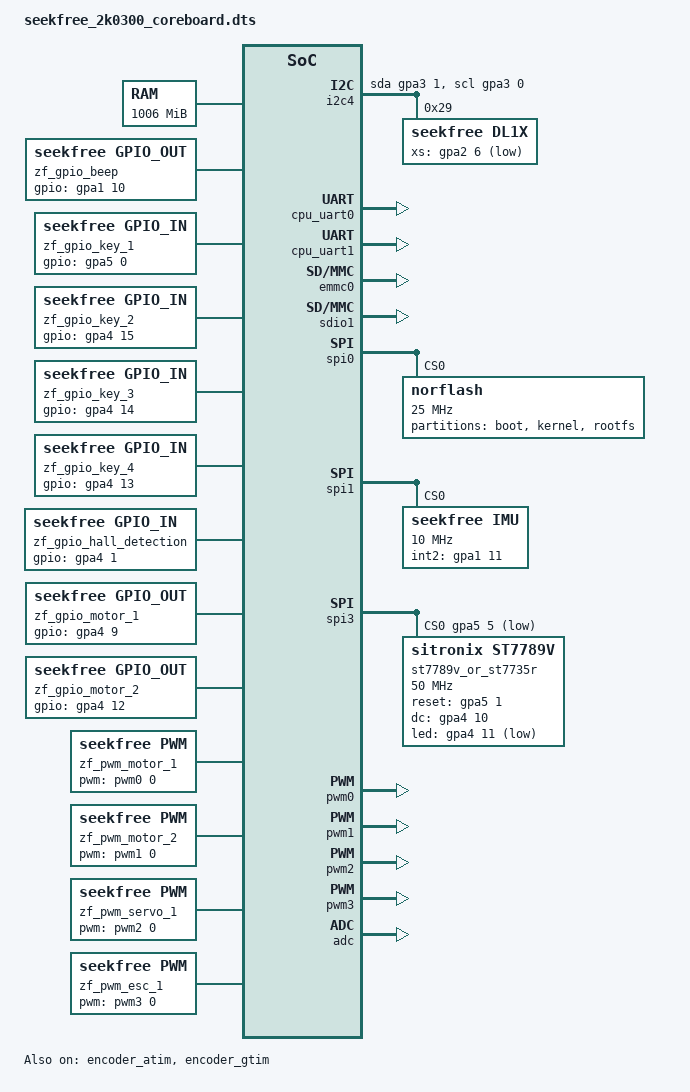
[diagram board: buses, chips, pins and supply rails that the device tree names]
#include "loongson_2k0300.dtsi"

/ {
    memory {
        name = "memory";
        device_type = "memory";
        reg =  <0 0x00200000 0 0x0ee00000
             0 0x90000000 0 0x30000000>;
    };

    // ----------蜂鸣器---------- //
    zf_gpio_beep{
        status = "okay";
        compatible = "seekfree,gpio_out";
        gpios = <&gpa1 10 GPIO_ACTIVE_HIGH>;
	};
    // ----------蜂鸣器---------- //

    // ----------按键---------- //
    zf_gpio_key_1{
        status = "okay";
        compatible = "seekfree,gpio_in";
        gpios = <&gpa5 0 GPIO_ACTIVE_HIGH>;
	};

    zf_gpio_key_2{
        status = "okay";
        compatible = "seekfree,gpio_in";
        gpios = <&gpa4 15 GPIO_ACTIVE_HIGH>;
	};

    zf_gpio_key_3{
        status = "okay";
        compatible = "seekfree,gpio_in";
        gpios = <&gpa4 14 GPIO_ACTIVE_HIGH>;
	};

    zf_gpio_key_4{
        status = "okay";
        compatible = "seekfree,gpio_in";
        gpios = <&gpa4 13 GPIO_ACTIVE_HIGH>;
	};
    // ----------按键---------- //

    // ----------磁铁感应接口---------- //
    zf_gpio_hall_detection{
        status = "okay";
        compatible = "seekfree,gpio_in";
        gpios = <&gpa4 1 GPIO_ACTIVE_HIGH>;     // GPIO65
	};
    // ----------磁铁感应接口---------- //

    // ----------TOF接口---------- //
    i2c4{
        compatible = "i2c-gpio";
        status = "okay";    
        gpios = <&gpa3 1 GPIO_ACTIVE_HIGH>, // SDA GPIO49 
                <&gpa3 0 GPIO_ACTIVE_HIGH>; // SCL GPIO48
        i2c-gpio,delay-us = <1>;	/* 160 kHz */
        i2c-gpio,scl-output-only;

        #address-cells = <1>;
        #size-cells = <0>;

        dl1x:dl1x@0{
            status = "okay"; 
		    compatible = "seekfree,dl1x";    // 自动识别DL1A DL1B
            xs-gpios = <&gpa2 6 GPIO_ACTIVE_LOW>; 
            reg = <0x29>;
		};
    };
    // ----------TOF接口---------- //

    // ----------电机方向引脚---------- //
    // 电机1方向引脚
    zf_gpio_motor_1{
        status = "okay";
        compatible = "seekfree,gpio_out";
        gpios = <&gpa4 9 GPIO_ACTIVE_HIGH>;     // GPIO73
	};


    // 电机2方向引脚
    zf_gpio_motor_2{
        status = "okay";
        compatible = "seekfree,gpio_out";
        gpios = <&gpa4 12 GPIO_ACTIVE_HIGH>;    // GPIO76
	};
    // ----------电机方向引脚---------- //

    // ----------电机PWM---------- //
    zf_pwm_motor_1{
        compatible = "seekfree,pwm";
        pwms = <&pwm0 0 1000000>;       // pwm0 通道0 周期(用户不需要关心)
        status = "okay";
        freq = <17000>;                 // 17KHZ 频率
        duty = <0>;                     // 默认 0% 的占空比
        duty_max = <10000>;             // duty最大值，不建议修改。
    };

    zf_pwm_motor_2{
        compatible = "seekfree,pwm";
        pwms = <&pwm1 0 1000000>;       // pwm1 通道0 周期(用户不需要关心)
        status = "okay";
        freq = <17000>;                 // 17KHZ 频率
        duty = <0>;                     // 默认 0% 的占空比
        duty_max = <10000>;             // duty最大值，不建议修改。
    };
    
    // ----------电机PWM---------- //  

    // ----------舵机PWM---------- //
    zf_pwm_servo_1{
        compatible = "seekfree,pwm";
        pwms = <&pwm2 0 1000000>;       // pwm3 通道0 周期(用户不需要关心)
        status = "okay";
        freq = <300>;                   // 300HZ 频率
        duty = <0>;                     // 默认 0% 的占空比
        duty_max = <10000>;             // duty最大值，不建议修改。
    };
    // ----------舵机PWM---------- //

    // ----------电调PWM---------- //
    zf_pwm_esc_1{
        compatible = "seekfree,pwm";
        pwms = <&pwm3 0 1000000>;       // pwm2 通道0 周期(用户不需要关心)
        status = "okay";
        freq = <50>;                    // 50HZ 频率
        duty = <0>;                     // 默认 0% 的占空比
        duty_max = <10000>;             // duty最大值，不建议修改。
    };

    // ----------电调PWM---------- //
};


&cpu_uart0{
    status = "okay";
    pinctrl-names = "default";
    pinctrl-0 = <&uart0_2bit_m0>;
    // auto-flow-control = <1>;
};

&cpu_uart1{
    status = "okay";
    pinctrl-names = "default";
    pinctrl-0 = <&uart1_2bit_m0>;
    // auto-flow-control = <1>;
};


&emmc0{
    status = "okay";
    pinctrl-names = "default";
    pinctrl-0 = <&sdio0_pin_f0>, <&sdio0_pin_f1>;
};

&sdio1{
    status = "okay";
    pinctrl-names = "default";
    pinctrl-0 = <&sdio1_6bit>;
    cs-gpios = <&gpa4 7 GPIO_ACTIVE_HIGH>;
};

// norflash驱动
&spi0{
    status = "okay";
    pinctrl-names = "default";
    pinctrl-0 = <&spi0_6bit_f0>,<&spi0_6bit_f1>;

    norflash@0 {
       reg = <0>;
       spi-rx-bus-width = <4>;
       spi-max-frequency = <25000000>;
       #address-cells = <1>;
       #size-cells = <1>;
       partitions {
           compatible = "fixed-partitions";
           #address-cells = <1>;
           #size-cells = <1>;

           boot@0 {
               label = "boot";
               reg = <0x0000000 0x100000>;
               /*read-only;*/
           };

           kernel@100000 {
               label = "kernel";
               reg = <0x100000 0x600000>;
           };

           rootfs@700000 {
               label = "rootfs";
               reg = <0x700000 0x1000000>;
           };
       };

    };
};


// ----------姿态传感器---------- //
&spi1 {
    status = "okay";
    pinctrl-names = "default";
    pinctrl-0 = <&spi1_4bit>;
    imu: imu@0 {
        status = "okay";
        compatible = "seekfree,imu";                // 自动识别IMU660RA IMU660RB IMU963RA
        spi-max-frequency = <10000000>;
        reg = <0>;
        int2-gpios = <&gpa1 11 GPIO_ACTIVE_HIGH>;   // 仅IMU660RC使用
    };
};


// ----------IPS200屏幕---------- //
// 目前支持IPS200和TFT180屏幕。
// 不支持其他屏幕。
&spi3{
    status = "okay";
    pinctrl-names = "default";
    pinctrl-0 = <&spi3_nocs_pin>;
    // compatible = "loongson,ls-spi-io";
    // compatible = "loongson,ls-spi-v1";
    compatible = "loongson,ls-spi-dma";
    // 软件CS配置
    num-cs = <1>;
    cs-gpios = <&gpa5 5 GPIO_ACTIVE_LOW>;
    // 中断设置
    interrupt-parent = <&icu>;
    interrupts = <7>;
    // DMA配置
    dmas = <&dma0 3 0xaae>, <&dma0 2 0xaae>;
    dma-names = "tx", "rx";

    st7789v_or_st7735r:st7789v_or_st7735r@0{
       status = "okay";
       compatible = "sitronix,st7789v", "sitronix,st7735r";
       reg = <0>;              //chip select 0:cs0  1:cs1
       spi-max-frequency = <50000000>;
       spi-mode = <0>;
       rgb;
       rotate = <0>;           // 旋转方向 0 90 180 270
       buswidth = <8>;
       fps = <50>;             // 帧率
       
       reset-gpios = <&gpa5 1 GPIO_ACTIVE_HIGH>;   // GPIO81
       dc-gpios = <&gpa4 10 GPIO_ACTIVE_HIGH>;     // GPIO74
       led-gpios = <&gpa4 11 GPIO_ACTIVE_LOW>;     // 背光引脚 GPIO75

       // width = <240>;     
       // height= <320>;      

       debug = <0x2>;
    };

    // spidev@0{
    //     status = "okay";
    //     compatible = "spidev";
    //     reg = <0>;
    //     spi-max-frequency = <10000000>;
    // };


};



// ----------IPS200屏幕---------- //

// ----------正交编码器配置---------- //
// 正交编码器和方向编码器只能二选一使用，不能同时使用
// 正交编码器和方向编码器只能二选一使用，不能同时使用
// 正交编码器和方向编码器只能二选一使用，不能同时使用
&encoder_atim{
    status = "okay";
    compatible = "seekfree,encoder_quad";
    pinctrl-names = "default";
    pinctrl-0 = <&atim_ch1_pin_m0>, <&atim_ch2_pin_m0>;   
    dev-name = "zf_encoder_quad_1";
};

&encoder_gtim{
    status = "okay";
    compatible = "seekfree,encoder_quad";
    pinctrl-names = "default";
    pinctrl-0 = <&gtim_ch1_pin_m0>, <&gtim_ch2_pin_m0>;   
    dev-name = "zf_encoder_quad_2";
};
// ----------正交编码器配置---------- //

// ----------方向编码器配置---------- //
// 正交编码器和方向编码器只能二选一使用，不能同时使用
// 正交编码器和方向编码器只能二选一使用，不能同时使用
// 正交编码器和方向编码器只能二选一使用，不能同时使用
// &encoder_atim{
//     status = "okay";
//     compatible = "seekfree,encoder_dir";
//     pinctrl-names = "default";
//     pinctrl-0 = <&atim_ch1_pin_m0>;   
//     dir-gpios = <&gpa1 13 GPIO_ACTIVE_LOW>;
//     dev-name = "zf_encoder_dir_1";
// };

// &encoder_gtim{
//     status = "okay";
//     compatible = "seekfree,encoder_dir";
//     pinctrl-names = "default";
//     pinctrl-0 = <&gtim_ch1_pin_m0>;
//     dir-gpios = <&gpa2 3 GPIO_ACTIVE_LOW>;
//     dev-name = "zf_encoder_dir_2";
// };
// ----------方向编码器配置---------- //

// ----------电机PWM配置---------- //
// 电机信号1
// DIR_GPIO73
// GPIO86
&pwm0{
    status = "okay";
    pinctrl-names = "default";
    pinctrl-0 = <&pwm0_mux_m1>;
    clock-frequency = <160000000>;
    compatible = "loongson,ls300-pwm";
};

// 电机信号2
// DIR_GPIO76
// GPIO87
&pwm1{
    status = "okay";
    pinctrl-names = "default";
    pinctrl-0 = <&pwm1_mux_m1>;
    clock-frequency = <160000000>;
    compatible = "loongson,ls300-pwm";
};

// 舵机信号
// GPIO88
&pwm2{
    status = "okay";
    pinctrl-names = "default";
    pinctrl-0 = <&pwm2_mux_m1>;
    clock-frequency = <160000000>;
    compatible = "loongson,ls300-pwm";
};

// 电调信号
// GPIO89
&pwm3{
    status = "okay";
    pinctrl-names = "default";
    pinctrl-0 = <&pwm3_mux_m1>;
    clock-frequency = <160000000>;
    compatible = "loongson,ls300-pwm";
};
// ----------电机PWM配置---------- //




// ----------ADC配置----------//
&adc{
	status = "okay";
};
// ----------ADC配置----------//
